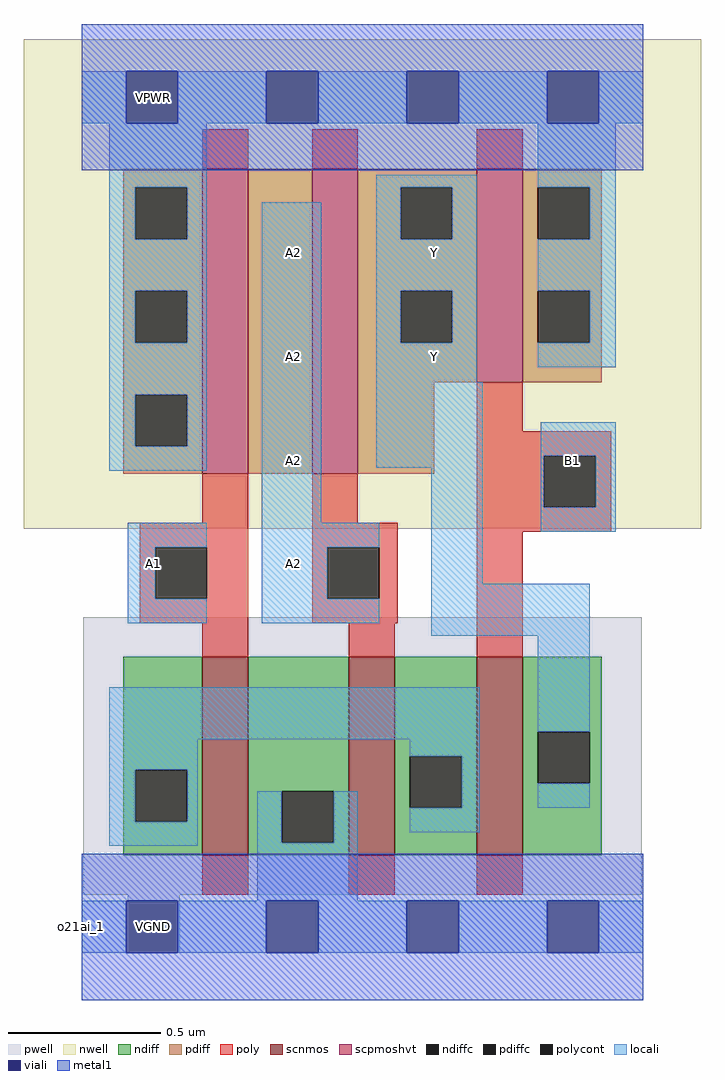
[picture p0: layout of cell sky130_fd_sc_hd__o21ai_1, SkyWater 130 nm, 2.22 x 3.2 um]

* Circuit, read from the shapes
.subckt sky130_fd_sc_hd__o21ai_1 VGND VPWR VPB VNB A2 B1 Y A1
XM1 VGND A1 n1 VNB sky130_fd_pr__nfet_01v8 w=0.65 l=0.15
XM2 n1 A2 VGND VNB sky130_fd_pr__nfet_01v8 w=0.65 l=0.15
XM3 Y B1 n1 VNB sky130_fd_pr__nfet_01v8 w=0.65 l=0.15
XM4 n2 A1 VPWR VPB sky130_fd_pr__pfet_01v8_hvt w=1 l=0.15
XM5 Y A2 n2 VPB sky130_fd_pr__pfet_01v8_hvt w=1 l=0.15
XM6 VPWR B1 Y VPB sky130_fd_pr__pfet_01v8_hvt w=0.7 l=0.15
.ends

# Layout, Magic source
magic
tech sky130B
magscale 1 2
<< nwell >>
rect -38 221 406 542
<< pwell >>
rect 1 -19 367 163
rect 30 -57 64 -19
<< scnmos >>
rect 79 7 109 137
rect 175 7 205 137
rect 259 7 289 137
<< scpmoshvt >>
rect 79 257 109 457
rect 151 257 181 457
rect 259 317 289 457
<< ndiff >>
rect 27 63 79 137
rect 27 29 35 63
rect 69 29 79 63
rect 27 7 79 29
rect 109 49 175 137
rect 109 15 131 49
rect 165 15 175 49
rect 109 7 175 15
rect 205 72 259 137
rect 205 38 215 72
rect 249 38 259 72
rect 205 7 259 38
rect 289 88 341 137
rect 289 54 299 88
rect 333 54 341 88
rect 289 7 341 54
<< pdiff >>
rect 27 445 79 457
rect 27 411 35 445
rect 69 411 79 445
rect 27 377 79 411
rect 27 343 35 377
rect 69 343 79 377
rect 27 309 79 343
rect 27 275 35 309
rect 69 275 79 309
rect 27 257 79 275
rect 109 257 151 457
rect 181 445 259 457
rect 181 411 209 445
rect 243 411 259 445
rect 181 377 259 411
rect 181 343 209 377
rect 243 343 259 377
rect 181 317 259 343
rect 289 445 341 457
rect 289 411 299 445
rect 333 411 341 445
rect 289 377 341 411
rect 289 343 299 377
rect 333 343 341 377
rect 289 317 341 343
rect 181 257 231 317
<< ndiffc >>
rect 35 29 69 63
rect 131 15 165 49
rect 215 38 249 72
rect 299 54 333 88
<< pdiffc >>
rect 35 411 69 445
rect 35 343 69 377
rect 35 275 69 309
rect 209 411 243 445
rect 209 343 243 377
rect 299 411 333 445
rect 299 343 333 377
<< poly >>
rect 79 457 109 483
rect 151 457 181 483
rect 259 457 289 483
rect 259 285 289 317
rect 259 269 347 285
rect 79 225 109 257
rect 38 209 109 225
rect 38 175 48 209
rect 82 175 109 209
rect 38 159 109 175
rect 151 225 181 257
rect 259 235 303 269
rect 337 235 347 269
rect 151 209 207 225
rect 151 175 161 209
rect 195 175 207 209
rect 151 159 207 175
rect 259 219 347 235
rect 79 137 109 159
rect 175 137 205 159
rect 259 137 289 219
rect 79 -19 109 7
rect 175 -19 205 7
rect 259 -19 289 7
<< polycont >>
rect 48 175 82 209
rect 303 235 337 269
rect 161 175 195 209
<< locali >>
rect 0 487 29 521
rect 63 487 121 521
rect 155 487 213 521
rect 247 487 305 521
rect 339 487 368 521
rect 18 445 82 487
rect 18 411 35 445
rect 69 411 82 445
rect 193 445 259 453
rect 18 377 82 411
rect 18 343 35 377
rect 69 343 82 377
rect 18 309 82 343
rect 18 275 35 309
rect 69 275 82 309
rect 18 259 82 275
rect 118 225 157 435
rect 193 411 209 445
rect 243 411 259 445
rect 193 377 259 411
rect 193 343 209 377
rect 243 343 259 377
rect 193 317 259 343
rect 299 445 350 487
rect 333 411 350 445
rect 299 377 350 411
rect 333 343 350 377
rect 299 327 350 343
rect 193 261 263 317
rect 30 209 82 225
rect 30 175 48 209
rect 30 159 82 175
rect 118 209 195 225
rect 118 175 161 209
rect 118 159 195 175
rect 229 185 263 261
rect 301 269 350 291
rect 301 235 303 269
rect 337 235 350 269
rect 301 219 350 235
rect 229 151 333 185
rect 18 83 261 117
rect 18 63 76 83
rect 18 29 35 63
rect 69 29 76 63
rect 215 72 261 83
rect 18 13 76 29
rect 115 15 131 49
rect 165 15 181 49
rect 249 38 261 72
rect 299 88 333 151
rect 299 38 333 54
rect 215 22 261 38
rect 115 -23 181 15
rect 0 -57 29 -23
rect 63 -57 121 -23
rect 155 -57 213 -23
rect 247 -57 305 -23
rect 339 -57 368 -23
<< viali >>
rect 29 487 63 521
rect 121 487 155 521
rect 213 487 247 521
rect 305 487 339 521
rect 29 -57 63 -23
rect 121 -57 155 -23
rect 213 -57 247 -23
rect 305 -57 339 -23
<< metal1 >>
rect 0 521 368 552
rect 0 487 29 521
rect 63 487 121 521
rect 155 487 213 521
rect 247 487 305 521
rect 339 487 368 521
rect 0 456 368 487
rect 0 -23 368 8
rect 0 -57 29 -23
rect 63 -57 121 -23
rect 155 -57 213 -23
rect 247 -57 305 -23
rect 339 -57 368 -23
rect 0 -88 368 -57
<< labels >>
rlabel comment s 0 -40 0 -40 4 o21ai_1
flabel metal1 s 30 -57 64 -23 0 FreeSans 200 0 0 0 VGND
port 2 nsew
flabel metal1 s 30 487 64 521 0 FreeSans 200 0 0 0 VPWR
port 3 nsew
flabel nwell s 30 487 64 521 0 FreeSans 200 0 0 0 VPB
port 5 nsew
flabel pwell s 30 -57 64 -23 0 FreeSans 200 0 0 0 VNB
port 6 nsew
flabel locali s 122 385 156 419 0 FreeSans 400 0 0 0 A2
port 7 nsew
flabel locali s 122 317 156 351 0 FreeSans 400 0 0 0 A2
port 7 nsew
flabel locali s 122 249 156 283 0 FreeSans 400 0 0 0 A2
port 7 nsew
flabel locali s 30 181 64 215 0 FreeSans 400 0 0 0 A1
port 10 nsew
flabel locali s 122 181 156 215 0 FreeSans 400 0 0 0 A2
port 7 nsew
flabel locali s 305 249 339 283 0 FreeSans 400 0 0 0 B1
port 8 nsew
flabel locali s 214 385 248 419 0 FreeSans 400 0 0 0 Y
port 9 nsew
flabel locali s 214 317 248 351 0 FreeSans 400 0 0 0 Y
port 9 nsew
<< properties >>
string FIXED_BBOX 0 -40 368 504
string path 0.000 12.600 9.200 12.600 
<< end >>
